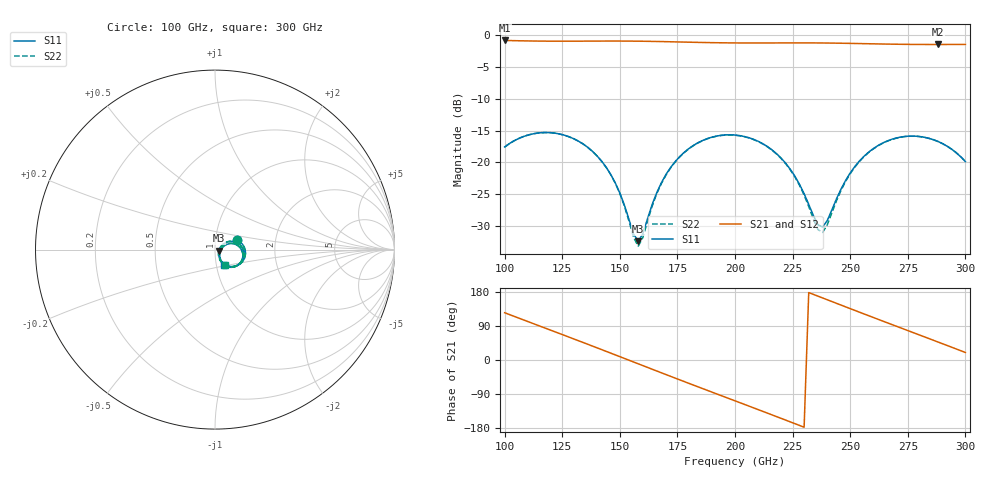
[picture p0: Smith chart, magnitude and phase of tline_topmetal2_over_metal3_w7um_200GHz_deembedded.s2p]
! Created with skrf 2.2.0 (http://scikit-rf.org).
# GHz S DB R 50.0
! Port[1] = P1
! Port[2] = P2
!freq dBS11 angS11 dBS21 angS21 dBS12 angS12 dBS22 angS22
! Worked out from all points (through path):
!   101 points, 100 GHz to 300 GHz, reference 50 ohm
!   highest |S21| = -0.88 dB at 100 GHz (marker M1); lowest = -1.5 dB at 288 GHz (marker M2)
!   group delay of S21, straight-line fit = 6.47 ps
!   lowest |S11| = -32.3 dB at 158 GHz (marker M3), VSWR 1.05, Z = 52.4 - j0.603 ohm
!   |S11| at or under -10 dB: start of sweep to end of sweep
!   |S22| runs from -33.1 to -15.3 dB; largest |S21 - S12| = 1.5e-13
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100  -17.57 23.8  -0.88 124.8  -0.88 124.8  -17.59 23.7
108  -15.96 8.4  -0.94 106.3  -0.94 106.3  -15.96 8.1
116  -15.33 -7.5  -0.98 87.9  -0.98 87.9  -15.33 -7.9
124  -15.54 -23.4  -0.99 69.5  -0.99 69.5  -15.55 -24.0
134  -17.09 -42.6  -0.98 46.4  -0.98 46.4  -17.09 -43.5
146  -21.84 -61.1  -0.97 18.3  -0.97 18.3  -21.87 -62.7
158  -32.35 -13.8  -0.99 -10.1  -0.99 -10.1  -33.12 -14.9
168  -23.21 33.3  -1.05 -33.6  -1.05 -33.6  -23.33 34.3
176  -19.08 24.1  -1.11 -52.4  -1.11 -52.4  -19.13 24.5
184  -16.89 10.3  -1.18 -70.9  -1.18 -70.9  -16.93 10.4
192  -15.86 -4.7  -1.23 -89.4  -1.23 -89.4  -15.89 -4.8
200  -15.70 -19.8  -1.26 -107.7  -1.26 -107.7  -15.72 -20.2
210  -16.68 -38.3  -1.27 -130.8  -1.27 -130.8  -16.71 -39.1
220  -19.31 -54.5  -1.26 -154.0  -1.26 -154.0  -19.37 -55.8
228  -23.42 -60.7  -1.26 -172.7  -1.26 -172.7  -23.58 -62.8
234  -28.31 -46.9  -1.26 173.2  -1.26 173.2  -28.84 -49.7
238  -30.11 -13.8  -1.27 163.8  -1.27 163.8  -30.96 -13.3
252  -20.64 21.1  -1.35 130.9  -1.35 130.9  -20.73 22.8
268  -16.37 -3.9  -1.46 93.8  -1.46 93.8  -16.40 -3.0
278  -15.87 -22.3  -1.50 70.8  -1.50 70.8  -15.89 -21.5
288  -16.69 -40.5  -1.51 47.7  -1.51 47.7  -16.70 -39.6
300  -19.87 -59.0  -1.50 19.9  -1.50 19.9  -19.84 -57.7
